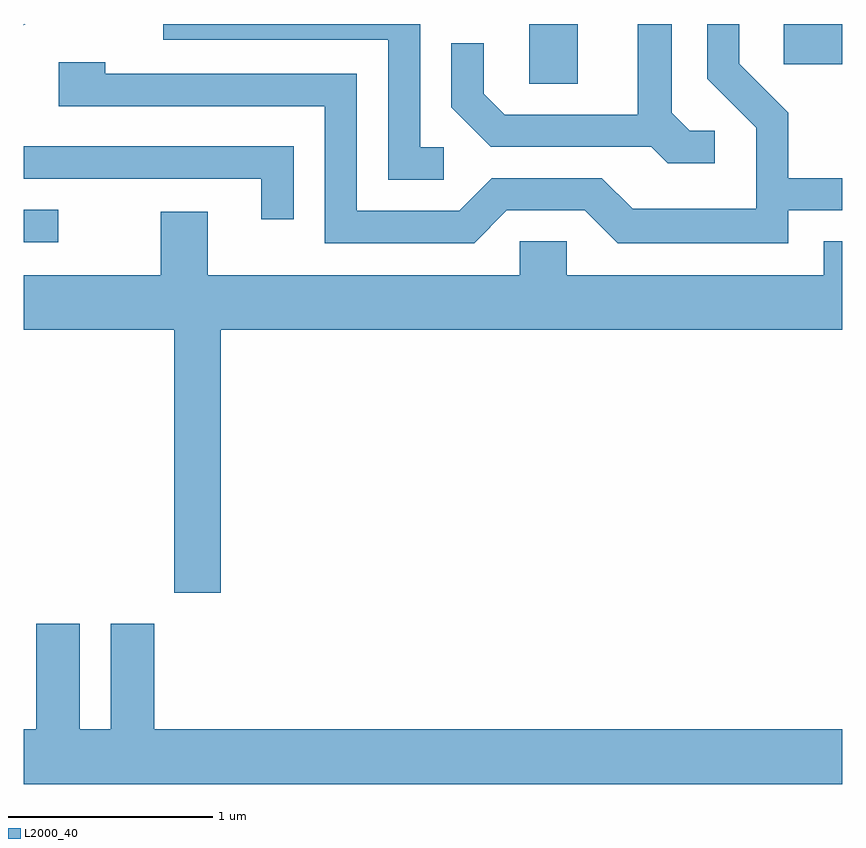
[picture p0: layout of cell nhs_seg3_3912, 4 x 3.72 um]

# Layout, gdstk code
import gdstk
lib = gdstk.Library(unit=1e-6, precision=1e-09)
def R(c, l, rs):  # rectangles x0, y0, x1, y1
    for r in rs: c.add(gdstk.rectangle(r[:2], r[2:], *l))
def P(c, l, *ps):  # polygons
    for p in ps: c.add(gdstk.Polygon(p, *l))
L2000_40 = (2000, 40)

nhs_seg3_3912 = lib.new_cell('nhs_seg3_3912')
R(nhs_seg3_3912, L2000_40, [(299.611,1190.826,299.778,1190.984), (302.081,1191.601,302.319,1191.892), (303.326,1191.696,303.611,1191.892)])
P(nhs_seg3_3912, L2000_40, [(299.617,1191.892),(299.611,1191.892),(299.611,1191.886)],
  [(301.972,1190.981),(302.354,1190.981),(302.514,1190.821),(303.349,1190.821),(303.349,1190.981),(303.611,1190.981),(303.611,1191.139),(303.349,1191.139),(303.349,1191.457),(303.109,1191.697),(303.109,1191.892),(302.951,1191.892),(302.951,1191.624),(303.191,1191.384),(303.191,1190.989),(302.587,1190.989),(302.437,1191.139),(301.899,1191.139),(301.739,1190.979),(301.239,1190.979),(301.239,1191.649),(300.009,1191.649),(300.009,1191.704),(299.781,1191.704),(299.781,1191.491),(301.081,1191.491),(301.081,1190.821),(301.812,1190.821)],
  [(301.663,1191.289),(301.549,1191.289),(301.549,1191.892),(300.293,1191.892),(300.293,1191.816),(301.391,1191.816),(301.391,1191.131),(301.663,1191.131)],
  [(302.988,1191.369),(302.867,1191.369),(302.779,1191.457),(302.779,1191.892),(302.611,1191.892),(302.611,1191.449),(301.962,1191.449),(301.859,1191.552),(301.859,1191.798),(301.701,1191.798),(301.701,1191.484),(301.894,1191.291),(302.679,1191.291),(302.759,1191.211),(302.988,1191.211)],
  [(300.929,1191.294),(299.611,1191.294),(299.611,1191.136),(300.771,1191.136),(300.771,1190.938),(300.929,1190.938)],
  [(300.574,1190.396),(303.611,1190.396),(303.611,1190.829),(303.521,1190.829),(303.521,1190.664),(302.264,1190.664),(302.264,1190.829),(302.036,1190.829),(302.036,1190.664),(300.509,1190.664),(300.509,1190.974),(300.281,1190.974),(300.281,1190.664),(299.611,1190.664),(299.611,1190.396),(300.346,1190.396),(300.346,1189.111),(300.574,1189.111)],
  [(303.611,1188.444),(300.249,1188.444),(300.249,1188.959),(300.036,1188.959),(300.036,1188.444),(299.884,1188.444),(299.884,1188.959),(299.671,1188.959),(299.671,1188.444),(299.611,1188.444),(299.611,1188.176),(303.611,1188.176)])

lib.write_gds('nhs_seg3_3912.gds')
